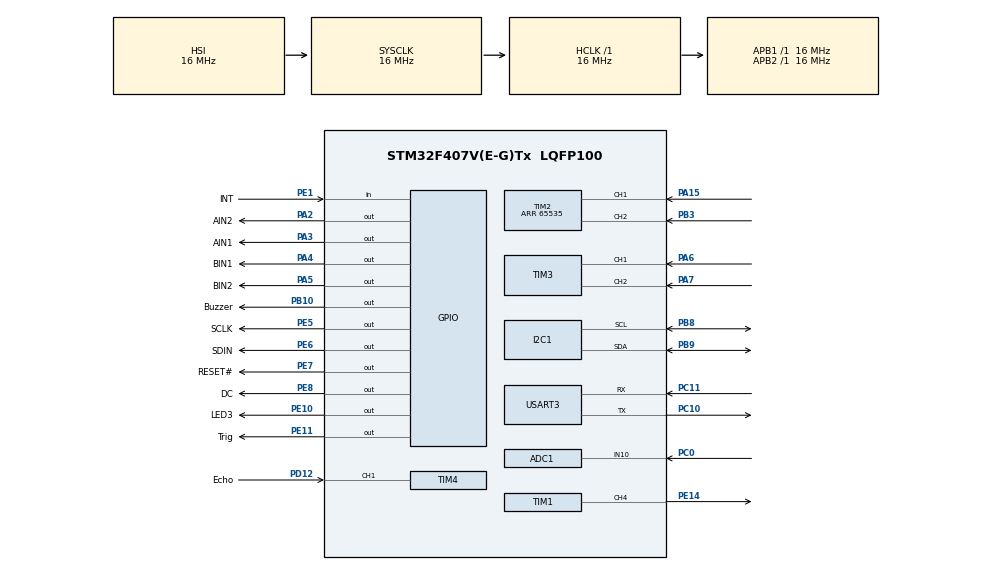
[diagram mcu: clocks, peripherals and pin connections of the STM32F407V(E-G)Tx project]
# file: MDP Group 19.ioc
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ADC1.Channel-3\#ChannelRegularConversion=ADC_CHANNEL_10
ADC1.ExternalTrigConv=ADC_SOFTWARE_START
ADC1.NbrOfConversion=1
ADC1.NbrOfConversionFlag=1
ADC1.Rank-3\#ChannelRegularConversion=1
ADC1.SamplingTime-3\#ChannelRegularConversion=ADC_SAMPLETIME_3CYCLES
ADC1.master=1
FREERTOS.Tasks01=defaultTask,24,128,StartDefaultTask,Default,NULL,Dynamic,NULL,NULL;Motor,8,128,motorA,Default,NULL,Dynamic,NULL,NULL;Encoder,8,128,encoder,Default,NULL,Dynamic,NULL,NULL;IMU,8,128,gyro_task,Default,NULL,Dynamic,NULL,NULL;soundSensor,32,128,ultrasonic_task,Default,NULL,Dynamic,NULL,NULL;Show,32,128,show_task,Default,NULL,Dynamic,NULL,NULL
Mcu.Family=STM32F4
Mcu.Name=STM32F407V(E-G)Tx
Mcu.Package=LQFP100
NVIC.PriorityGroup=NVIC_PRIORITYGROUP_4
NVIC.TIM4_IRQn=true\:5\:0\:false\:false\:true\:true\:true\:true\:true
PA13.Signal=SYS_JTMS-SWDIO
PA14.Signal=SYS_JTCK-SWCLK
PA15.Signal=S_TIM2_CH1_ETR
PA2.GPIO_Label=AIN2
PA2.GPIO_Speed=GPIO_SPEED_FREQ_HIGH
PA2.Signal=GPIO_Output
PA3.GPIO_Label=AIN1
PA3.GPIO_Speed=GPIO_SPEED_FREQ_HIGH
PA3.Signal=GPIO_Output
PA4.GPIO_Label=BIN1
PA4.GPIO_Speed=GPIO_SPEED_FREQ_HIGH
PA4.Signal=GPIO_Output
PA5.GPIO_Label=BIN2
PA5.GPIO_Speed=GPIO_SPEED_FREQ_HIGH
PA5.Signal=GPIO_Output
PA6.Signal=S_TIM3_CH1
PA7.Signal=S_TIM3_CH2
PB10.GPIO_Label=Buzzer
PB10.Signal=GPIO_Output
PB3.Signal=S_TIM2_CH2
PB8.Mode=I2C
PB8.Signal=I2C1_SCL
PB9.Mode=I2C
PB9.Signal=I2C1_SDA
PC0.Signal=ADCx_IN10
PC10.Mode=Asynchronous
PC10.Signal=USART3_TX
PC11.Mode=Asynchronous
PC11.Signal=USART3_RX
PC6.Signal=S_TIM8_CH1
PC7.Signal=S_TIM8_CH2
PD12.GPIO_Label=Echo
PD12.Signal=S_TIM4_CH1
PE1.GPIO_Label=INT
PE1.Signal=GPIO_Input
PE10.GPIO_Label=LED3
PE10.Signal=GPIO_Output
PE11.GPIO_Label=Trig
PE11.Signal=GPIO_Output
PE14.Signal=S_TIM1_CH4
PE5.GPIO_Label=SCLK
PE5.Signal=GPIO_Output
PE6.GPIO_Label=SDIN
PE6.Signal=GPIO_Output
PE7.GPIO_Label=RESET\#
PE7.Signal=GPIO_Output
PE8.GPIO_Label=DC
PE8.Signal=GPIO_Output
ProjectManager.HeapSize=0x200
ProjectManager.StackSize=0x400
ProjectManager.TargetToolchain=STM32CubeIDE
RCC.AHBFreq_Value=16000000
RCC.APB1Freq_Value=16000000
RCC.APB2Freq_Value=16000000
RCC.CortexFreq_Value=16000000
RCC.HSE_VALUE=25000000
RCC.HSI_VALUE=16000000
RCC.LSE_VALUE=32768
RCC.SYSCLKFreq_VALUE=16000000
RCC.VCOOutputFreq_Value=192000000
SH.ADCx_IN10.0=ADC1_IN10,IN10
SH.S_TIM1_CH4.0=TIM1_CH4,PWM Generation4 CH4
SH.S_TIM2_CH1_ETR.0=TIM2_CH1,Encoder_Interface
SH.S_TIM2_CH2.0=TIM2_CH2,Encoder_Interface
SH.S_TIM3_CH1.0=TIM3_CH1,Encoder_Interface
SH.S_TIM3_CH2.0=TIM3_CH2,Encoder_Interface
SH.S_TIM4_CH1.0=TIM4_CH1,Input_Capture1_from_TI1
SH.S_TIM8_CH1.0=TIM8_CH1
SH.S_TIM8_CH2.0=TIM8_CH2
TIM1.AutoReloadPreload=TIM_AUTORELOAD_PRELOAD_ENABLE
TIM1.Channel-PWM\ Generation4\ CH4=TIM_CHANNEL_4
TIM1.Period=1000
TIM1.Prescaler=160
TIM2.EncoderMode=TIM_ENCODERMODE_TI12
TIM2.IC1Filter=10
TIM2.IC2Filter=10
TIM2.Period=65535
TIM3.EncoderMode=TIM_ENCODERMODE_TI12
TIM3.IC1Filter=10
TIM3.IC2Filter=10
TIM4.Channel-Input_Capture1_from_TI1=TIM_CHANNEL_1
TIM4.Prescaler=16-1
TIM8.Channel-PWM\ Generation1\ No\ Output=TIM_CHANNEL_1
TIM8.Channel-PWM\ Generation2\ No\ Output=TIM_CHANNEL_2
TIM8.Period=7199
USART3.VirtualMode=VM_ASYNC
VP_FREERTOS_VS_CMSIS_V2.Mode=CMSIS_V2
VP_TIM1_VS_ClockSourceINT.Mode=Internal
VP_TIM8_VS_ClockSourceINT.Mode=Internal
VP_TIM8_VS_no_output1.Mode=PWM Generation1 No Output
VP_TIM8_VS_no_output2.Mode=PWM Generation2 No Output
board=custom

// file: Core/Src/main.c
/* USER CODE BEGIN Header */
/**
  ******************************************************************************
  * @file           : main.c
  * @brief          : Main program body
  ******************************************************************************
  * @attention
  *
  * Copyright (c) 2024 STMicroelectronics.
  * All rights reserved.
  *
  * This software is licensed under terms that can be found in the LICENSE file
  * in the root directory of this software component.
  * If no LICENSE file comes with this software, it is provided AS-IS.
  *
  ******************************************************************************
  */
/* USER CODE END Header */
#include "main.h"
#include "cmsis_os.h"

/* USER CODE BEGIN Includes */
#include "oled.h"
#include "PID.h"
/* USER CODE END Includes */

/* USER CODE BEGIN PTD */
#define ECHO_Port 	GPIOB
#define ECHO_Pin	GPIO_PIN_4
#define TRIG_Port	GPIOE
#define TRIG_Pin	GPIO_PIN_9
/* USER CODE END PTD */

 ADC_HandleTypeDef hadc1;

I2C_HandleTypeDef hi2c1;

TIM_HandleTypeDef htim1;
TIM_HandleTypeDef htim2;
TIM_HandleTypeDef htim3;
TIM_HandleTypeDef htim4;
TIM_HandleTypeDef htim8;

UART_HandleTypeDef huart3;

/* Definitions for defaultTask */
osThreadId_t defaultTaskHandle;
const osThreadAttr_t defaultTask_attributes = {
  .name = "defaultTask",
  .stack_size = 128 * 4,
  .priority = (osPriority_t) osPriorityNormal,
};
/* Definitions for Motor */
osThreadId_t MotorHandle;
const osThreadAttr_t Motor_attributes = {
  .name = "Motor",
  .stack_size = 128 * 4,
  .priority = (osPriority_t) osPriorityLow,
};
/* Definitions for Encoder */
osThreadId_t EncoderHandle;
const osThreadAttr_t Encoder_attributes = {
  .name = "Encoder",
  .stack_size = 128 * 4,
  .priority = (osPriority_t) osPriorityLow,
};
/* Definitions for IMU */
osThreadId_t IMUHandle;
const osThreadAttr_t IMU_attributes = {
  .name = "IMU",
  .stack_size = 128 * 4,
  .priority = (osPriority_t) osPriorityLow,
};
/* Definitions for soundSensor */
osThreadId_t soundSensorHandle;
const osThreadAttr_t soundSensor_attributes = {
  .name = "soundSensor",
  .stack_size = 128 * 4,
  .priority = (osPriority_t) osPriorityAboveNormal,
};
/* Definitions for Show */
osThreadId_t ShowHandle;
const osThreadAttr_t Show_attributes = {
  .name = "Show",
  .stack_size = 128 * 4,
  .priority = (osPriority_t) osPriorityAboveNormal,
};
/* USER CODE BEGIN PV */
float echo =0;
float tc1, tc2;
/* USER CODE END PV */

void SystemClock_Config(void);
static void MX_GPIO_Init(void);
static void MX_USART3_UART_Init(void);
static void MX_TIM8_Init(void);
static void MX_TIM1_Init(void);
static void MX_TIM2_Init(void);
static void MX_I2C1_Init(void);
static void MX_TIM3_Init(void);
static void MX_TIM4_Init(void);
static void MX_ADC1_Init(void);
void stop();
void forward();
void reverse();
void servomotor_right();
void servomotor_center();
void servomotor_left();
void right_turn(int angle);
void left_turn(int angle);
void gyroInit();
void writeByte(uint8_t addr, uint8_t data);
void readByte(uint8_t addr, uint8_t *data);
void delay_us(uint16_t us);
void HAL_TIM_IC_CaptureCallback(TIM_HandleTypeDef *htim);
void HCSR04_Read (void);
void StartDefaultTask(void *argument);
void motorA(void *argument);
void encoder(void *argument);
void gyro_task(void *argument);
void ultrasonic_task(void *argument);
void show_task(void *argument);

/* USER CODE BEGIN 0 */
float speedOfSound = 0.0343/2;
//uint8_t motorA[20]; //move as global
uint8_t motorB[20]; //move as global
uint8_t Angle[20];
uint8_t dist[20];
uint8_t IRleft[20];
//Motor Global Var
int PID_DELAY = 1;
int PID_ENABLE = 0;
int PWML, PWMR;
const pwmval=2000; //Straight speed
const pwmval2=1500; //Turning speed
uint16_t pwmvalL,pwmvalR;
uint16_t pwmvalL2,pwmvalR2;
int pwm_L_f, pwm_L_b;
int pwm_R_f, pwm_R_b;
int pwm_L_div = 1, pwm_R_div = 1;
//	int offset_L, offset_R;
pwm_L_f = 1400; //Speed 2500 > 1950, 4000 > 3120, 3200 > 2500
pwm_L_b = 1625; //Speed 2500 > 2050, 4000 > 3280, 3200 > 2625
pwm_R_f = 1400; //Speed 2500 > 2050, 4000 > 3280, 3200 > 2625
pwm_R_b = 1525; //Speed 2500 > 2100, 4000 > 3360, 3200 > 2690
//Delay to achieve 10cm/s
int fwdTime=500;
int motor_dir; //Backward = -1, Stop = 0, Forward = 1
int servo_dir; //left = -1, center = 0, right = 1
double left_distance, right_distance;

//Encoder Global Var
int left_speed, right_speed;
double LEFTWHEEL_DIST;
double RIGHTWHEEL_DIST;
double full_rotation_wheel = 1250;
double circumference_wheel = 20.4;
double distance = 1200.0;

//gyroscope global var
uint8_t ICM_ADDR = 0x68;
uint8_t buff[20]; //Gyroscope buffer
double TOTAL_ANGLE = 0;
double TURNING_ANGLE = 0;
double TARGET_ANGLE = 90;

//Ultrasound Global Variables
uint32_t Echo_Val1 = 0;
uint32_t Echo_Val2 = 0;
uint32_t Difference = 0;
uint8_t Is_First_Captured = 0;
uint8_t Distance=999;
uint8_t UD=999;
int same=0;
uint16_t final_distance = 60;
int stime = 0;
double ultra_Distance  = 0; //Ultrasound distance

//IR sensor global variables
#define BUFFER_SIZE 4  // Buffer size for 10 samples

float irBufferL[BUFFER_SIZE]; // Buffer for left IR sensor
//float irBufferR[BUFFER_SIZE]; // Buffer for right IR sensor
int bufferIndex = 0;          // Current index in the buffer
float ir_distL_Avg = 0;       // Average distance for left IR sensor
//float ir_distR_Avg = 0;       // Average distance for right IR sensor
/* USER CODE END 0 */

int main(void)
{
  /* USER CODE BEGIN 1 */
	uint8_t sbuf[15] = "Hello World!\n\r";
  /* USER CODE END 1 */

  /* MCU Configuration--------------------------------------------------------*/

  /* Reset of all peripherals, Initializes the Flash interface and the Systick. */
  HAL_Init();

  /* Configure the system clock */
  SystemClock_Config();

  /* Initialize all configured peripherals */
  MX_GPIO_Init();
  MX_USART3_UART_Init();
  MX_TIM8_Init();
  MX_TIM1_Init();
  MX_TIM2_Init();
  MX_I2C1_Init();
  MX_TIM3_Init();
  MX_TIM4_Init();
  MX_ADC1_Init();
  /* USER CODE BEGIN 2 */
  	OLED_Init();
    /*OLED_ShowString(10, 5, "MDP GOGO!");

    OLED_buf = "2nd lab";
    OLED_ShowString(40, 30, OLED_buf);*/
    //OLED_Refresh_Gram();
  /* USER CODE END 2 */

  /* Init scheduler */
  osKernelInitialize();

  /* Create the thread(s) */
  /* creation of defaultTask */
  defaultTaskHandle = osThreadNew(StartDefaultTask, NULL, &defaultTask_attributes);

  /* creation of Motor */
  MotorHandle = osThreadNew(motorA, NULL, &Motor_attributes);

  /* creation of Encoder */
  EncoderHandle = osThreadNew(encoder, NULL, &Encoder_attributes);

  /* creation of IMU */
  IMUHandle = osThreadNew(gyro_task, NULL, &IMU_attributes);

  /* creation of soundSensor */
  soundSensorHandle = osThreadNew(ultrasonic_task, NULL, &soundSensor_attributes);

  /* creation of Show */
  ShowHandle = osThreadNew(show_task, NULL, &Show_attributes);

  /* Start scheduler */
  osKernelStart();

  /* We should never get here as control is now taken by the scheduler */
  /* Infinite loop */
  /* USER CODE BEGIN WHILE */
  while (1)
  {
	  HAL_GPIO_TogglePin(LED3_GPIO_Port, LED3_Pin);
	  //HAL_GPIO_TogglePin(Buzzer_GPIO_Port, Buzzer_Pin);
	  HAL_UART_Transmit(&huart3, sbuf, sizeof(sbuf), HAL_MAX_DELAY);
	  HAL_Delay(2000);

	  //HAL_GPIO_WritePin(GPIOA, LED3_Pin, GPIO_PIN_RESET);

    /* USER CODE END WHILE */

  }
}

void SystemClock_Config(void)
{
  RCC_OscInitTypeDef RCC_OscInitStruct = {0};
  RCC_ClkInitTypeDef RCC_ClkInitStruct = {0};

  /** Configure the main internal regulator output voltage
  */
  __HAL_RCC_PWR_CLK_ENABLE();
  __HAL_PWR_VOLTAGESCALING_CONFIG(PWR_REGULATOR_VOLTAGE_SCALE1);

  /** Initializes the RCC Oscillators according to the specified parameters
  * in the RCC_OscInitTypeDef structure.
  */
  RCC_OscInitStruct.OscillatorType = RCC_OSCILLATORTYPE_HSI;
  RCC_OscInitStruct.HSIState = RCC_HSI_ON;
  RCC_OscInitStruct.HSICalibrationValue = RCC_HSICALIBRATION_DEFAULT;
  RCC_OscInitStruct.PLL.PLLState = RCC_PLL_NONE;
  if (HAL_RCC_OscConfig(&RCC_OscInitStruct) != HAL_OK)
  {
    Error_Handler();
  }

  /** Initializes the CPU, AHB and APB buses clocks
  */
  RCC_ClkInitStruct.ClockType = RCC_CLOCKTYPE_HCLK|RCC_CLOCKTYPE_SYSCLK
                              |RCC_CLOCKTYPE_PCLK1|RCC_CLOCKTYPE_PCLK2;
  RCC_ClkInitStruct.SYSCLKSource = RCC_SYSCLKSOURCE_HSI;
  RCC_ClkInitStruct.AHBCLKDivider = RCC_SYSCLK_DIV1;
  RCC_ClkInitStruct.APB1CLKDivider = RCC_HCLK_DIV1;
  RCC_ClkInitStruct.APB2CLKDivider = RCC_HCLK_DIV1;

  if (HAL_RCC_ClockConfig(&RCC_ClkInitStruct, FLASH_LATENCY_0) != HAL_OK)
  {
    Error_Handler();
  }
}

static void MX_ADC1_Init(void)
{

  ADC_ChannelConfTypeDef sConfig = {0};

  /** Configure the global features of the ADC (Clock, Resolution, Data Alignment and number of conversion)
  */
  hadc1.Instance = ADC1;
  hadc1.Init.ClockPrescaler = ADC_CLOCK_SYNC_PCLK_DIV2;
  hadc1.Init.Resolution = ADC_RESOLUTION_12B;
  hadc1.Init.ScanConvMode = DISABLE;
  hadc1.Init.ContinuousConvMode = DISABLE;
  hadc1.Init.DiscontinuousConvMode = DISABLE;
  hadc1.Init.ExternalTrigConvEdge = ADC_EXTERNALTRIGCONVEDGE_NONE;
  hadc1.Init.ExternalTrigConv = ADC_SOFTWARE_START;
  hadc1.Init.DataAlign = ADC_DATAALIGN_RIGHT;
  hadc1.Init.NbrOfConversion = 1;
  hadc1.Init.DMAContinuousRequests = DISABLE;
  hadc1.Init.EOCSelection = ADC_EOC_SINGLE_CONV;
  if (HAL_ADC_Init(&hadc1) != HAL_OK)
  {
    Error_Handler();
  }

  /** Configure for the selected ADC regular channel its corresponding rank in the sequencer and its sample time.
  */
  sConfig.Channel = ADC_CHANNEL_10;
  sConfig.Rank = 1;
  sConfig.SamplingTime = ADC_SAMPLETIME_3CYCLES;
  if (HAL_ADC_ConfigChannel(&hadc1, &sConfig) != HAL_OK)
  {
    Error_Handler();
  }

}

static void MX_I2C1_Init(void)
{

  hi2c1.Instance = I2C1;
  hi2c1.Init.ClockSpeed = 100000;
  hi2c1.Init.DutyCycle = I2C_DUTYCYCLE_2;
  hi2c1.Init.OwnAddress1 = 0;
  hi2c1.Init.AddressingMode = I2C_ADDRESSINGMODE_7BIT;
  hi2c1.Init.DualAddressMode = I2C_DUALADDRESS_DISABLE;
  hi2c1.Init.OwnAddress2 = 0;
  hi2c1.Init.GeneralCallMode = I2C_GENERALCALL_DISABLE;
  hi2c1.Init.NoStretchMode = I2C_NOSTRETCH_DISABLE;
  if (HAL_I2C_Init(&hi2c1) != HAL_OK)
  {
    Error_Handler();
  }

}

static void MX_TIM1_Init(void)
{

  TIM_ClockConfigTypeDef sClockSourceConfig = {0};
  TIM_MasterConfigTypeDef sMasterConfig = {0};
  TIM_OC_InitTypeDef sConfigOC = {0};
  TIM_BreakDeadTimeConfigTypeDef sBreakDeadTimeConfig = {0};

  htim1.Instance = TIM1;
  htim1.Init.Prescaler = 160;
  htim1.Init.CounterMode = TIM_COUNTERMODE_UP;
  htim1.Init.Period = 1000;
  htim1.Init.ClockDivision = TIM_CLOCKDIVISION_DIV1;
  htim1.Init.RepetitionCounter = 0;
  htim1.Init.AutoReloadPreload = TIM_AUTORELOAD_PRELOAD_ENABLE;
  if (HAL_TIM_Base_Init(&htim1) != HAL_OK)
  {
    Error_Handler();
  }
  sClockSourceConfig.ClockSource = TIM_CLOCKSOURCE_INTERNAL;
  if (HAL_TIM_ConfigClockSource(&htim1, &sClockSourceConfig) != HAL_OK)
  {
    Error_Handler();
  }
  if (HAL_TIM_PWM_Init(&htim1) != HAL_OK)
  {
    Error_Handler();
  }
  sMasterConfig.MasterOutputTrigger = TIM_TRGO_RESET;
  sMasterConfig.MasterSlaveMode = TIM_MASTERSLAVEMODE_DISABLE;
  if (HAL_TIMEx_MasterConfigSynchronization(&htim1, &sMasterConfig) != HAL_OK)
  {
    Error_Handler();
  }
  sConfigOC.OCMode = TIM_OCMODE_PWM1;
  sConfigOC.Pulse = 0;
  sConfigOC.OCPolarity = TIM_OCPOLARITY_HIGH;
  sConfigOC.OCFastMode = TIM_OCFAST_DISABLE;
  sConfigOC.OCIdleState = TIM_OCIDLESTATE_RESET;
  sConfigOC.OCNIdleState = TIM_OCNIDLESTATE_RESET;
  if (HAL_TIM_PWM_ConfigChannel(&htim1, &sConfigOC, TIM_CHANNEL_4) != HAL_OK)
  {
    Error_Handler();
  }
  sBreakDeadTimeConfig.OffStateRunMode = TIM_OSSR_DISABLE;
  sBreakDeadTimeConfig.OffStateIDLEMode = TIM_OSSI_DISABLE;
  sBreakDeadTimeConfig.LockLevel = TIM_LOCKLEVEL_OFF;
  sBreakDeadTimeConfig.DeadTime = 0;
  sBreakDeadTimeConfig.BreakState = TIM_BREAK_DISABLE;
  sBreakDeadTimeConfig.BreakPolarity = TIM_BREAKPOLARITY_HIGH;
  sBreakDeadTimeConfig.AutomaticOutput = TIM_AUTOMATICOUTPUT_DISABLE;
  if (HAL_TIMEx_ConfigBreakDeadTime(&htim1, &sBreakDeadTimeConfig) != HAL_OK)
  {
    Error_Handler();
  }
  HAL_TIM_MspPostInit(&htim1);

}

static void MX_TIM2_Init(void)
{

  TIM_Encoder_InitTypeDef sConfig = {0};
  TIM_MasterConfigTypeDef sMasterConfig = {0};

  htim2.Instance = TIM2;
  htim2.Init.Prescaler = 0;
  htim2.Init.CounterMode = TIM_COUNTERMODE_UP;
  htim2.Init.Period = 65535;
  htim2.Init.ClockDivision = TIM_CLOCKDIVISION_DIV1;
  htim2.Init.AutoReloadPreload = TIM_AUTORELOAD_PRELOAD_DISABLE;
  sConfig.EncoderMode = TIM_ENCODERMODE_TI12;
  sConfig.IC1Polarity = TIM_ICPOLARITY_RISING;
  sConfig.IC1Selection = TIM_ICSELECTION_DIRECTTI;
  sConfig.IC1Prescaler = TIM_ICPSC_DIV1;
  sConfig.IC1Filter = 10;
  sConfig.IC2Polarity = TIM_ICPOLARITY_RISING;
  sConfig.IC2Selection = TIM_ICSELECTION_DIRECTTI;
  sConfig.IC2Prescaler = TIM_ICPSC_DIV1;
  sConfig.IC2Filter = 10;
  if (HAL_TIM_Encoder_Init(&htim2, &sConfig) != HAL_OK)
  {
    Error_Handler();
  }
  sMasterConfig.MasterOutputTrigger = TIM_TRGO_RESET;
  sMasterConfig.MasterSlaveMode = TIM_MASTERSLAVEMODE_DISABLE;
  if (HAL_TIMEx_MasterConfigSynchronization(&htim2, &sMasterConfig) != HAL_OK)
  {
    Error_Handler();
  }

}

static void MX_TIM3_Init(void)
{

  TIM_Encoder_InitTypeDef sConfig = {0};
  TIM_MasterConfigTypeDef sMasterConfig = {0};

  htim3.Instance = TIM3;
  htim3.Init.Prescaler = 0;
  htim3.Init.CounterMode = TIM_COUNTERMODE_UP;
  htim3.Init.Period = 65535;
  htim3.Init.ClockDivision = TIM_CLOCKDIVISION_DIV1;
  htim3.Init.AutoReloadPreload = TIM_AUTORELOAD_PRELOAD_DISABLE;
  sConfig.EncoderMode = TIM_ENCODERMODE_TI12;
  sConfig.IC1Polarity = TIM_ICPOLARITY_RISING;
  sConfig.IC1Selection = TIM_ICSELECTION_DIRECTTI;
  sConfig.IC1Prescaler = TIM_ICPSC_DIV1;
  sConfig.IC1Filter = 10;
  sConfig.IC2Polarity = TIM_ICPOLARITY_RISING;
  sConfig.IC2Selection = TIM_ICSELECTION_DIRECTTI;
  sConfig.IC2Prescaler = TIM_ICPSC_DIV1;
  sConfig.IC2Filter = 10;
  if (HAL_TIM_Encoder_Init(&htim3, &sConfig) != HAL_OK)
  {
    Error_Handler();
  }
  sMasterConfig.MasterOutputTrigger = TIM_TRGO_RESET;
  sMasterConfig.MasterSlaveMode = TIM_MASTERSLAVEMODE_DISABLE;
  if (HAL_TIMEx_MasterConfigSynchronization(&htim3, &sMasterConfig) != HAL_OK)
  {
    Error_Handler();
  }

}

static void MX_TIM4_Init(void)
{

  TIM_MasterConfigTypeDef sMasterConfig = {0};
  TIM_IC_InitTypeDef sConfigIC = {0};

  htim4.Instance = TIM4;
  htim4.Init.Prescaler = 16-1;
  htim4.Init.CounterMode = TIM_COUNTERMODE_UP;
  htim4.Init.Period = 65535;
  htim4.Init.ClockDivision = TIM_CLOCKDIVISION_DIV1;
  htim4.Init.AutoReloadPreload = TIM_AUTORELOAD_PRELOAD_DISABLE;
  if (HAL_TIM_IC_Init(&htim4) != HAL_OK)
  {
    Error_Handler();
  }
  sMasterConfig.MasterOutputTrigger = TIM_TRGO_RESET;
  sMasterConfig.MasterSlaveMode = TIM_MASTERSLAVEMODE_DISABLE;
  if (HAL_TIMEx_MasterConfigSynchronization(&htim4, &sMasterConfig) != HAL_OK)
  {
    Error_Handler();
  }
  sConfigIC.ICPolarity = TIM_INPUTCHANNELPOLARITY_RISING;
  sConfigIC.ICSelection = TIM_ICSELECTION_DIRECTTI;
  sConfigIC.ICPrescaler = TIM_ICPSC_DIV1;
  sConfigIC.ICFilter = 0;
  if (HAL_TIM_IC_ConfigChannel(&htim4, &sConfigIC, TIM_CHANNEL_1) != HAL_OK)
  {
    Error_Handler();
  }

}

static void MX_TIM8_Init(void)
{

  TIM_ClockConfigTypeDef sClockSourceConfig = {0};
  TIM_MasterConfigTypeDef sMasterConfig = {0};
  TIM_OC_InitTypeDef sConfigOC = {0};
  TIM_BreakDeadTimeConfigTypeDef sBreakDeadTimeConfig = {0};

  htim8.Instance = TIM8;
  htim8.Init.Prescaler = 0;
  htim8.Init.CounterMode = TIM_COUNTERMODE_UP;
  htim8.Init.Period = 7199;
  htim8.Init.ClockDivision = TIM_CLOCKDIVISION_DIV1;
  htim8.Init.RepetitionCounter = 0;
  htim8.Init.AutoReloadPreload = TIM_AUTORELOAD_PRELOAD_DISABLE;
  if (HAL_TIM_Base_Init(&htim8) != HAL_OK)
  {
    Error_Handler();
  }
  sClockSourceConfig.ClockSource = TIM_CLOCKSOURCE_INTERNAL;
  if (HAL_TIM_ConfigClockSource(&htim8, &sClockSourceConfig) != HAL_OK)
  {
    Error_Handler();
  }
  if (HAL_TIM_PWM_Init(&htim8) != HAL_OK)
  {
    Error_Handler();
  }
  sMasterConfig.MasterOutputTrigger = TIM_TRGO_RESET;
  sMasterConfig.MasterSlaveMode = TIM_MASTERSLAVEMODE_DISABLE;
  if (HAL_TIMEx_MasterConfigSynchronization(&htim8, &sMasterConfig) != HAL_OK)
  {
    Error_Handler();
  }
  sConfigOC.OCMode = TIM_OCMODE_PWM1;
  sConfigOC.Pulse = 0;
  sConfigOC.OCPolarity = TIM_OCPOLARITY_HIGH;
  sConfigOC.OCNPolarity = TIM_OCNPOLARITY_HIGH;
  sConfigOC.OCFastMode = TIM_OCFAST_DISABLE;
  sConfigOC.OCIdleState = TIM_OCIDLESTATE_RESET;
  sConfigOC.OCNIdleState = TIM_OCNIDLESTATE_RESET;
  if (HAL_TIM_PWM_ConfigChannel(&htim8, &sConfigOC, TIM_CHANNEL_1) != HAL_OK)
  {
    Error_Handler();
  }
  if (HAL_TIM_PWM_ConfigChannel(&htim8, &sConfigOC, TIM_CHANNEL_2) != HAL_OK)
  {
    Error_Handler();
  }
  sBreakDeadTimeConfig.OffStateRunMode = TIM_OSSR_DISABLE;
  sBreakDeadTimeConfig.OffStateIDLEMode = TIM_OSSI_DISABLE;
  sBreakDeadTimeConfig.LockLevel = TIM_LOCKLEVEL_OFF;
  sBreakDeadTimeConfig.DeadTime = 0;
  sBreakDeadTimeConfig.BreakState = TIM_BREAK_DISABLE;
  sBreakDeadTimeConfig.BreakPolarity = TIM_BREAKPOLARITY_HIGH;
  sBreakDeadTimeConfig.AutomaticOutput = TIM_AUTOMATICOUTPUT_DISABLE;
  if (HAL_TIMEx_ConfigBreakDeadTime(&htim8, &sBreakDeadTimeConfig) != HAL_OK)
  {
    Error_Handler();
  }

}

static void MX_USART3_UART_Init(void)
{

  huart3.Instance = USART3;
  huart3.Init.BaudRate = 115200;
  huart3.Init.WordLength = UART_WORDLENGTH_8B;
  huart3.Init.StopBits = UART_STOPBITS_1;
  huart3.Init.Parity = UART_PARITY_NONE;
  huart3.Init.Mode = UART_MODE_TX_RX;
  huart3.Init.HwFlowCtl = UART_HWCONTROL_NONE;
  huart3.Init.OverSampling = UART_OVERSAMPLING_16;
  if (HAL_UART_Init(&huart3) != HAL_OK)
  {
    Error_Handler();
  }

}

static void MX_GPIO_Init(void)
{
  GPIO_InitTypeDef GPIO_InitStruct = {0};

  /* GPIO Ports Clock Enable */
  __HAL_RCC_GPIOE_CLK_ENABLE();
  __HAL_RCC_GPIOC_CLK_ENABLE();
  __HAL_RCC_GPIOA_CLK_ENABLE();
  __HAL_RCC_GPIOB_CLK_ENABLE();
  __HAL_RCC_GPIOD_CLK_ENABLE();

  /*Configure GPIO pin Output Level */
  HAL_GPIO_WritePin(GPIOE, SCLK_Pin|SDIN_Pin|RESET__Pin|DC_Pin
                          |LED3_Pin|Trig_Pin, GPIO_PIN_RESET);

  /*Configure GPIO pin Output Level */
  HAL_GPIO_WritePin(GPIOA, AIN2_Pin|AIN1_Pin|BIN1_Pin|BIN2_Pin, GPIO_PIN_RESET);

  /*Configure GPIO pin Output Level */
  HAL_GPIO_WritePin(Buzzer_GPIO_Port, Buzzer_Pin, GPIO_PIN_RESET);

  /*Configure GPIO pins : SCLK_Pin SDIN_Pin RESET__Pin DC_Pin
                           LED3_Pin Trig_Pin */
  GPIO_InitStruct.Pin = SCLK_Pin|SDIN_Pin|RESET__Pin|DC_Pin
                          |LED3_Pin|Trig_Pin;
  GPIO_InitStruct.Mode = GPIO_MODE_OUTPUT_PP;
  GPIO_InitStruct.Pull = GPIO_NOPULL;
  GPIO_InitStruct.Speed = GPIO_SPEED_FREQ_LOW;
  HAL_GPIO_Init(GPIOE, &GPIO_InitStruct);

  /*Configure GPIO pins : AIN2_Pin AIN1_Pin BIN1_Pin BIN2_Pin */
  GPIO_InitStruct.Pin = AIN2_Pin|AIN1_Pin|BIN1_Pin|BIN2_Pin;
  GPIO_InitStruct.Mode = GPIO_MODE_OUTPUT_PP;
  GPIO_InitStruct.Pull = GPIO_NOPULL;
  GPIO_InitStruct.Speed = GPIO_SPEED_FREQ_HIGH;
  HAL_GPIO_Init(GPIOA, &GPIO_InitStruct);

  /*Configure GPIO pin : Buzzer_Pin */
  GPIO_InitStruct.Pin = Buzzer_Pin;
  GPIO_InitStruct.Mode = GPIO_MODE_OUTPUT_PP;
  GPIO_InitStruct.Pull = GPIO_NOPULL;
  GPIO_InitStruct.Speed = GPIO_SPEED_FREQ_LOW;
  HAL_GPIO_Init(Buzzer_GPIO_Port, &GPIO_InitStruct);

  /*Configure GPIO pin : INT_Pin */
  GPIO_InitStruct.Pin = INT_Pin;
  GPIO_InitStruct.Mode = GPIO_MODE_INPUT;
  GPIO_InitStruct.Pull = GPIO_NOPULL;
  HAL_GPIO_Init(INT_GPIO_Port, &GPIO_InitStruct);

}

/* USER CODE BEGIN 4 */
void stop()
{
	//Stop both wheels
	motor_dir = 0;
	__HAL_TIM_SetCompare(&htim8,TIM_CHANNEL_1,0);
	__HAL_TIM_SetCompare(&htim8,TIM_CHANNEL_2,0);
}

void forward()
{
	//PID
	//pwmvalR = pwmval;
	//pwmvalL = pwmval;
	motor_dir = 1;
	//Left motor
	//servomotor_center(); //Center before starting
    HAL_GPIO_WritePin(GPIOA,AIN2_Pin,GPIO_PIN_RESET);
	HAL_GPIO_WritePin(GPIOA,AIN1_Pin,GPIO_PIN_SET);
//	pwmval=PIDController_Update(&motorL_PID,pwmval,spdL);
	//__HAL_TIM_SetCompare(&htim8,TIM_CHANNEL_1,pwmvalL);
	__HAL_TIM_SetCompare(&htim8, TIM_CHANNEL_1, pwm_L_f/pwm_L_div);

	//Right motor
	HAL_GPIO_WritePin(GPIOA,BIN2_Pin,GPIO_PIN_RESET);
	HAL_GPIO_WritePin(GPIOA,BIN1_Pin,GPIO_PIN_SET);
	//__HAL_TIM_SetCompare(&htim8,TIM_CHANNEL_2,pwmvalR);
	__HAL_TIM_SetCompare(&htim8, TIM_CHANNEL_2, pwm_R_f/pwm_R_div);

	HAL_Delay(10);
}

void reverse()
{
	//PID
	//pwmvalR = pwmval;  //20
	//pwmvalL = pwmval; //45
	motor_dir = -1;
	//Left motor
	servomotor_center(); //Center before starting
	HAL_GPIO_WritePin(GPIOA,AIN2_Pin,GPIO_PIN_SET);
	HAL_GPIO_WritePin(GPIOA,AIN1_Pin,GPIO_PIN_RESET);
	__HAL_TIM_SetCompare(&htim8, TIM_CHANNEL_1, pwm_L_b/pwm_L_div);

	//Right motor
	HAL_GPIO_WritePin(GPIOA,BIN2_Pin,GPIO_PIN_SET);
	HAL_GPIO_WritePin(GPIOA,BIN1_Pin,GPIO_PIN_RESET);
	__HAL_TIM_SetCompare(&htim8, TIM_CHANNEL_2, pwm_R_b/pwm_R_div);

	HAL_Delay(10);

}

void servomotor_right()
{
	// default: 225
	uint32_t value = 200;
	if (htim1.Instance->CCR4 == value){
			return;
	}
	htim1.Instance->CCR4 = value;
	servo_dir = -1;
	osDelay(200);
}

void servomotor_center()
{
	// default: 150
	uint32_t value;
	if (htim1.Instance->CCR4 == 96)
		value = 145;
	else
		value = 127;
	if (htim1.Instance->CCR4 == value){
		return;
	}
	htim1.Instance->CCR4 = value;
	servo_dir = 0;
	osDelay(200);
}

void servomotor_left()
{
	// default: 107
	uint32_t value = 96;
	if (htim1.Instance->CCR4 == value){
			return;
	}
	htim1.Instance->CCR4 = value;
	servo_dir = 1;
	osDelay(200);
}

void right_turn(int angle) //Keep for debugging purpose
{
	//Prep the servomotor to right
	servomotor_right();

	osDelay(250);

	TURNING_ANGLE = 0;
	forward();
	//Start the motor
	//__HAL_TIM_SetCompare(&htim8, TIM_CHANNEL_1, 3500);
	//__HAL_TIM_SetCompare(&htim8, TIM_CHANNEL_2, 3500);

	while (TURNING_ANGLE > -1*angle){ //while it is still turning to the correct angle
		servomotor_right();
		osDelay(10);
	}

	//Stop the Motor are completing the turn
	//__HAL_TIM_SetCompare(&htim8, TIM_CHANNEL_1, 0);
	//__HAL_TIM_SetCompare(&htim8, TIM_CHANNEL_2, 0);
	stop();

	servomotor_center();
}

void left_turn(int angle) //Keep for debugging purpose
{
	//Prep the servomotor to left
	servomotor_left();

	osDelay(250);

	TURNING_ANGLE = 0;
	forward();
	//Start the motor
	//__HAL_TIM_SetCompare(&htim8, TIM_CHANNEL_1, 3500);
	//__HAL_TIM_SetCompare(&htim8, TIM_CHANNEL_2, 3500);

	while (TURNING_ANGLE < angle){ //while it is still turning to the correct angle
		servomotor_left();
		osDelay(10);
	}

	//Stop the Motor are completing the turn
	//__HAL_TIM_SetCompare(&htim8, TIM_CHANNEL_1, 0);
	//__HAL_TIM_SetCompare(&htim8, TIM_CHANNEL_2, 0);
	stop();

	servomotor_center();

}

void gyroInit()
{
	writeByte(0x06, 0x00);
	osDelayUntil(10);
	writeByte(0x03, 0x80);
	osDelayUntil(10);
	writeByte(0x07, 0x3F);
	osDelayUntil(10);
	writeByte(0x06, 0x01);
	osDelayUntil(10);
	writeByte(0x7F, 0x20); // go to bank 2
	osDelayUntil(10);
	writeByte(0x01, 0x2F); // config gyro, enable gyro, dlpf, set gyro to +-2000dps; gyro lpf = 3'b101
	osDelayUntil(10);
	writeByte(0x00, 0x00); // set gyro sample rate divider = 1 + 0(GYRO_SMPLRT_DIV[7:0])
	osDelayUntil(10);
	writeByte(0x01, 0x2F); // config accel, enable gyro, dlpf, set gyro to +-2000dps; gyro lpf = 3'b101
	osDelayUntil(10);
	writeByte(0x00, 0x00); // set gyro sample rate divider = 1 + 0(GYRO_SMPLRT_DIV[7:0])
	osDelayUntil(10);
	writeByte(0x7F, 0x00); // return to bank 1
	osDelayUntil(10);
	writeByte(0x07, 0x00);
	osDelayUntil(10);
}

void writeByte(uint8_t addr, uint8_t data)
{
	buff[0] = addr;
	buff[1] = data;
	HAL_I2C_Master_Transmit(&hi2c1, ICM_ADDR<<1, buff, 2, 20);
}

void readByte(uint8_t addr, uint8_t *data)
{
	buff[0] = addr;
	// Tell we want to read from the register
	HAL_I2C_Master_Transmit(&hi2c1, ICM_ADDR<<1, buff, 1, 10);
	// Read 2 byte from z dir register
	HAL_I2C_Master_Receive(&hi2c1, ICM_ADDR<<1, data, 2, 20);
}

void delay_us(uint16_t us)
{
	__HAL_TIM_SET_COUNTER(&htim4,0);  // set the counter value a 0
	while (__HAL_TIM_GET_COUNTER(&htim4) < us);  // wait for the counter to reach the us input in the parameter
}

void HAL_TIM_IC_CaptureCallback(TIM_HandleTypeDef *htim)
{
	if (htim->Channel == HAL_TIM_ACTIVE_CHANNEL_1)  // if the interrupt source is channel1
	{
		if (Is_First_Captured==0) // if the first value is not captured
		{
			Echo_Val1 = HAL_TIM_ReadCapturedValue(htim, TIM_CHANNEL_1); // read the first value
			Is_First_Captured = 1;  // set the first captured as true
			// Now change the polarity to falling edge
			__HAL_TIM_SET_CAPTUREPOLARITY(htim, TIM_CHANNEL_1, TIM_INPUTCHANNELPOLARITY_FALLING);
		}

		else if (Is_First_Captured==1)   // if the first is already captured
		{
			Echo_Val2 = HAL_TIM_ReadCapturedValue(htim, TIM_CHANNEL_1);  // read second value
			__HAL_TIM_SET_COUNTER(htim, 0);  // reset the counter

			if (Echo_Val2 > Echo_Val1)
			{
				Difference = Echo_Val2-Echo_Val1;
			}

			else if (Echo_Val1 > Echo_Val2)
			{
				Difference = (0xffff - Echo_Val1) + Echo_Val2;
				//Difference = 0;
			}

			UD = (Difference * 0.034)/2;

			Is_First_Captured = 0; // set it back to false

			// set polarity to rising edge
			__HAL_TIM_SET_CAPTUREPOLARITY(htim, TIM_CHANNEL_1, TIM_INPUTCHANNELPOLARITY_RISING);
			__HAL_TIM_DISABLE_IT(&htim4, TIM_IT_CC1);
		}
	}
}

void HCSR04_Read (void)
{
	//	HAL_GPIO_WritePin(Trig_GPIO_Port, Trig_Pin, GPIO_PIN_SET);  // pull the TRIG pin HIGH
	//	delay_us(10);  // wait for 10 us
	//	HAL_GPIO_WritePin(Trig_GPIO_Port, Trig_Pin, GPIO_PIN_RESET);  // pull the TRIG pin low
	//
	//	__HAL_TIM_ENABLE_IT(&htim4, TIM_IT_CC1);

	HAL_GPIO_WritePin(Trig_GPIO_Port, Trig_Pin, GPIO_PIN_SET);  // pull the TRIG pin HIGH
	delay_us(10);  // wait f or 10 us
	HAL_GPIO_WritePin(Trig_GPIO_Port, Trig_Pin, GPIO_PIN_RESET);  // pull the TRIG pin low

	__HAL_TIM_ENABLE_IT(&htim4, TIM_IT_CC1);
}
/* USER CODE END 4 */

void StartDefaultTask(void *argument)
{
  for(;;)
  {
    osDelay(1);
  }
}

void motorA(void *argument)
{
  /* USER CODE BEGIN motorA */
	//uint16_t pwmVal =0;

	HAL_TIM_PWM_Start(&htim8,TIM_CHANNEL_1);
	HAL_TIM_PWM_Start(&htim8,TIM_CHANNEL_2);
	HAL_TIM_PWM_Start(&htim1,TIM_CHANNEL_4);
	servomotor_center();
	forward();
	osDelay(2000);
	right_turn(TARGET_ANGLE);
	while (1){
		if (LEFTWHEEL_DIST >= distance || RIGHTWHEEL_DIST >= distance) stop();
		if (TURNING_ANGLE >= TARGET_ANGLE) servomotor_center();
	}

	/*int pwm_L_f, pwm_L_b;
	int pwm_R_f, pwm_R_b;
	int pwm_L_div = 1, pwm_R_div = 1;
	//	int offset_L, offset_R;
	pwm_L_f = 2400; //Speed 2500 > 1950, 4000 > 3120, 3200 > 2500
	pwm_L_b = 2625; //Speed 2500 > 2050, 4000 > 3280, 3200 > 2625
	pwm_R_f = 2625; //Speed 2500 > 2050, 4000 > 3280, 3200 > 2625
	pwm_R_b = 2690; //Speed 2500 > 2100, 4000 > 3360, 3200 > 2690*/		//move to global

	struct PIDController motor_LF_PID, motor_RF_PID, motor_LB_PID, motor_RB_PID;

	MotorPIDController_Init(&motor_LF_PID);
	MotorPIDController_Init(&motor_RF_PID);
	MotorPIDController_Init(&motor_LB_PID);
	MotorPIDController_Init(&motor_RB_PID);

	uint32_t tick = HAL_GetTick();
	uint32_t pid_time_start = 0;
	int ANGLE_OFFSET;
//	RX_FLAG = 1;
//	RX_MOTOR = 'F';
//	RX_SERVO = 'C';
//	RX_MAG = 30;
	/* Infinite loop */
	for(;;)
	{
		//clockwise
		/*while(pwmVal<4000){
		  HAL_GPIO_WritePin(GPIOA, AIN2_Pin, GPIO_PIN_SET);
		  HAL_GPIO_WritePin(GPIOA, AIN1_Pin, GPIO_PIN_RESET);
		  HAL_GPIO_WritePin(GPIOA, BIN2_Pin, GPIO_PIN_SET);
		  HAL_GPIO_WritePin(GPIOA, BIN1_Pin, GPIO_PIN_RESET);
		  pwmVal++;
		  __HAL_TIM_SetCompare(&htim8, TIM_CHANNEL_1, pwmVal); //modify comparison value for the duty cycle
		  __HAL_TIM_SetCompare(&htim8, TIM_CHANNEL_2, pwmVal);
		  osDelay(10);
	  }
	  //anticlockwise
	  while(pwmVal>0){
		  HAL_GPIO_WritePin(GPIOA, AIN2_Pin, GPIO_PIN_RESET);
		  HAL_GPIO_WritePin(GPIOA, AIN1_Pin, GPIO_PIN_SET);
		  HAL_GPIO_WritePin(GPIOA, BIN2_Pin, GPIO_PIN_RESET);
		  HAL_GPIO_WritePin(GPIOA, BIN1_Pin, GPIO_PIN_SET);
		  pwmVal--;
		  __HAL_TIM_SetCompare(&htim8, TIM_CHANNEL_1, pwmVal);
		  __HAL_TIM_SetCompare(&htim8, TIM_CHANNEL_2, pwmVal);
		  osDelay(10);
	  }*/
		if (HAL_GetTick() - tick > 100L){
			//Calculate wheel speed change from turning
//			if (servo_dir != 0){
//				if (servo_dir == -1) {pwm_L_div = 2; pwm_R_div = 1;}
//				if (servo_dir == 1) {pwm_L_div = 1; pwm_R_div = 2;}
//			}
//			else {pwm_L_div = 1; pwm_R_div = 1;}
			//Calculate deviation
			if (motor_dir != 0 && servo_dir == 0){
				ANGLE_OFFSET = 3*((int)3*(TARGET_ANGLE - TOTAL_ANGLE));
				if (ANGLE_OFFSET >= 10) ANGLE_OFFSET = 10;
				if (ANGLE_OFFSET <= -10) ANGLE_OFFSET = -10;
			}
			//Control PID enable
			if (PID_DELAY == 1){
				pid_time_start = HAL_GetTick();
				PID_DELAY = 0;
			}
			if (PID_ENABLE == 0 && (HAL_GetTick() - pid_time_start > 400L)){
				PID_ENABLE = 1;
			}
			//Control motor
			if (motor_dir == 1){
				//Start the motor
				//__HAL_TIM_SetCompare(&htim8, TIM_CHANNEL_1, pwm_L_f/pwm_L_div);
				//__HAL_TIM_SetCompare(&htim8, TIM_CHANNEL_2, pwm_R_f/pwm_R_div);		//move to forward();
				//				if (servo_dir == 0) servomotor_set(SERVO_CENTER-ANGLE_OFFSET);
				//ADD PID CONTROL
				if (PID_ENABLE == 1){
					pwm_L_f = pwm_L_div*PIDController_Update(&motor_LF_PID, left_speed, 3200/pwm_L_div, pwm_L_f/pwm_L_div);
					pwm_R_f = pwm_R_div*PIDController_Update(&motor_RF_PID, right_speed, 3200/pwm_R_div, pwm_R_f/pwm_R_div);
				}
				//display to OLED
				PWML = pwm_L_f/pwm_L_div;
				PWMR = pwm_R_f/pwm_R_div;
			}
			else if (motor_dir == -1){
				//Start the motor
				//__HAL_TIM_SetCompare(&htim8, TIM_CHANNEL_1, pwm_L_b/pwm_L_div);
				//__HAL_TIM_SetCompare(&htim8, TIM_CHANNEL_2, pwm_R_b/pwm_R_div);		///move to reverse();
				//				if (servo_dir == 0) servomotor_set(SERVO_CENTER+ANGLE_OFFSET);
				//ADD PID CONTROL
				if (PID_ENABLE == 1){
					pwm_L_b = pwm_L_div*PIDController_Update(&motor_LB_PID, left_speed, 3200/pwm_L_div, pwm_L_b/pwm_L_div);
					pwm_R_b = pwm_R_div*PIDController_Update(&motor_RB_PID, right_speed, 3200/pwm_R_div, pwm_R_b/pwm_R_div);
				}
				//Display to OLED
				PWML = pwm_L_b/pwm_L_div;
				PWMR = pwm_R_b/pwm_R_div;
			}
			else {
				PWML = 0;
				PWMR = 0;
				PID_ENABLE = 0;
				ANGLE_OFFSET = 0;
				//				turning_prev = TOTAL_ANGLE-TARGET_ANGLE;
				//				deviation_prev = 0;
			}
			tick = HAL_GetTick();
		}
		osDelay(10);

  }
  /* USER CODE END motorA */
}

void encoder(void *argument)
{
  /* USER CODE BEGIN encoder */
  /* Infinite loop */
	HAL_TIM_Encoder_Start(&htim2, TIM_CHANNEL_ALL);
	HAL_TIM_Encoder_Start(&htim3, TIM_CHANNEL_ALL);

	int cnt1A, cnt2A;
	int cnt1B, cnt2B;
	int diffA = 0;
	int diffB = 0;
	uint32_t tick, cur_tick, T;
	uint16_t dirA, dirB;

	LEFTWHEEL_DIST = 0;
	RIGHTWHEEL_DIST = 0;
	cnt1A = __HAL_TIM_GET_COUNTER(&htim2);
	cnt1B = __HAL_TIM_GET_COUNTER(&htim3);
	tick = HAL_GetTick();

  for(;;)
  {
	  cur_tick = HAL_GetTick();
	  if (cur_tick - tick > 50L){ //every 0.05 second
	  		  cnt2A = __HAL_TIM_GET_COUNTER(&htim2);
	  		  cnt2B = __HAL_TIM_GET_COUNTER(&htim3);
	  		  //Left encoder
	  		  if(__HAL_TIM_IS_TIM_COUNTING_DOWN(&htim2)){
	  			  if(cnt2A <= cnt1A){
	  				  diffA = cnt1A - cnt2A;
	  			  }
	  			  else {
	  				  diffA = (65535 - cnt2A) + cnt1A; //handle overflow situation
	  			  }
	  			  //dir_L = 1;
	  		  }
	  		  else {
	  			  if(cnt2A >= cnt1A){
	  				  diffA = cnt2A - cnt1A;
	  			  }
	  			  else {
	  				  diffA = (65535 - cnt1A) + cnt2A;
	  			  }
	  			  //dir_L = -1;
	  		  }
	  		  //Right encoder
	  		  if(__HAL_TIM_IS_TIM_COUNTING_DOWN(&htim3)){
	  			  if(cnt2B <= cnt1B){
	  				  diffB = cnt1B - cnt2B;
	  			  }
	  			  else {
	  				  diffB = (65535 - cnt2B) + cnt1B; //handle overflow situation
	  			  }
	  			  //dir_R = -1;
	  		  }
	  		  else {
	  			  if(cnt2B >= cnt1B){
	  				  diffB = cnt2B - cnt1B;
	  			  }
	  			  else {
	  				  diffB = (65535 - cnt1B) + cnt2B;
	  			  }
	  			  //dir_R = 1;
	  		  }
		  T = cur_tick - tick;

		  //Show speed in ticks/s
		  //left_speed = diffA * (1000/T);
		  //right_speed = diffB * (1000/T);

		  //Calculate distance traveled
		  //distInt_L += left_diff * dir_L;
		  //distInt_R += right_diff * dir_R;
		  LEFTWHEEL_DIST += diffA/full_rotation_wheel*circumference_wheel;
		  RIGHTWHEEL_DIST += diffB/full_rotation_wheel*circumference_wheel;
		  //		  dirA = __HAL_TIM_IS_TIM_COUNTING_DOWN(&htim2);
		  //		  dirB = __HAL_TIM_IS_TIM_COUNTING_DOWN(&htim3);
		  //sprintf(motorA, "direction:%5d\0", motor_dir);
		  //OLED_ShowString(10,40,motorA); //move to show task
		  cnt1A = __HAL_TIM_GET_COUNTER(&htim2);
		  cnt1B = __HAL_TIM_GET_COUNTER(&htim3);
		  tick = HAL_GetTick();
		  //OLED_Refresh_Gram();
	  }
    osDelay(1);
  }
  /* USER CODE END encoder */
}

void gyro_task(void *argument)
{
  /* USER CODE BEGIN gyro_task */
  /* Infinite loop */
	//uint8_t Angle[20];
	//uint8_t motorB[20];
	double offset = 7.848882995;//High power offset 7.85 //Low power offset 7.8475
	double angle;
	for(;;)
	{
		uint8_t val[2] = {0, 0};
		int16_t angular_speed = 0;

		uint32_t tick = 0;
		gyroInit();

		tick = HAL_GetTick();
		osDelayUntil(10);

		for (;;)
		{

			osDelay(10);
			if (HAL_GetTick() - tick >= 50L)
			{
				readByte(0x37, val);
				angular_speed = (val[0] << 8) | val[1];

				//	      if (motor_dir == 0){
				//	    	  offset = (offset-(double)(angular_speed))/2;
				//	      }

				angle = ((double)(angular_speed)+offset) * ((HAL_GetTick() - tick) / 16400.0);
				//	      if (motor_dir == 0) angle = 0;
				TOTAL_ANGLE += angle;
				TURNING_ANGLE += angle;

				// prevSpeed = angular_speed;
				if (TOTAL_ANGLE >= 720)
				{
					TOTAL_ANGLE -= 720;
				}
				if (TOTAL_ANGLE <= -720)
				{
					TOTAL_ANGLE += 720;
				}
				//	      sprintf(OLED_Row_1, "OFSET: %6d\0", (int)((offset*10000)));
				//sprintf(Angle, "ANGLE: %6d\0", (int)(TOTAL_ANGLE));
				//sprintf(OLED_Row_5, "A_100: %6d\0", (int)(100*TOTAL_ANGLE));

				tick = HAL_GetTick();
			}
		}
		osDelay(1);
	}
  /* USER CODE END gyro_task */
}

void ultrasonic_task(void *argument)
{
  /* USER CODE BEGIN ultrasonic_task */
  /* Infinite loop */
	HAL_TIM_IC_Start_IT(&htim4, TIM_CHANNEL_1);
	int s1=0;
	int s2=0;
	int s3=0;
	int s1c=0;
	int s2c=0;
	int s3c=0;
	//uint8_t dist[20];

	for(;;)
	{
		osDelay(5);
		HAL_ADC_Start(&hadc1);
		//HAL_ADC_Start(&hadc2);
		HAL_ADC_PollForConversion(&hadc1, 1); // trivial waiting time, dont bother with dma or whatever
		uint32_t IR = HAL_ADC_GetValue(&hadc1);
		//HAL_ADC_PollForConversion(&hadc2, 1); // trivial waiting time, dont bother with dma or whatever
		//uint32_t IR2 = HAL_ADC_GetValue(&hadc2);
		HAL_ADC_Stop(&hadc1);
		//HAL_ADC_Stop(&hadc2);
		float volt = (float) (IR * 5) / 4095;
		irBufferL[bufferIndex] = roundf(29.988 * pow(volt, -1.173));
		//volt = (float) (IR2 * 5) / 4095;
		//irBufferR[bufferIndex] = roundf(29.988 * pow(volt, -1.173));

		float sumL = 0, sumR = 0;
		for (int i = 0; i < BUFFER_SIZE; i++) {
			sumL += irBufferL[i];
			//sumR += irBufferR[i];
		}
		for(int sc=0;sc<30;sc++)
		{
			HCSR04_Read();
			s1 = UD;
			if(UD==s1)
			{
				s1c++;
			}
			else if(UD!=s1)
			{
				s2 = UD;
				s2c++;
			}
			else if(UD!=s1 && UD!=s2)
			{
				s3 = UD;
				s3c++;
			}
		}
		if(s1c>s2c && s1c>s3c)
		{
			Distance=s1;
		}
		else if(s2c>s1c && s2c>s3c)
		{
			Distance=s2;
		}
		else if(s3c>s1c && s3c>s2c)
		{
			Distance=s3;
		}
		//sprintf(dist, "DIST: %5d CM", Distance);
		//OLED_ShowString(10,50,dist);
		ir_distL_Avg = sumL / BUFFER_SIZE;
		//ir_distR_Avg = sumR / BUFFER_SIZE;

		bufferIndex = (bufferIndex + 1) % BUFFER_SIZE; // Update buffer index
		osDelay(10);
	}
  /* USER CODE END ultrasonic_task */
}

void show_task(void *argument)
{
  /* USER CODE BEGIN show_task */
	uint8_t motorA[20];
  /* Infinite loop */
  for(;;)
  {
	  sprintf(motorA, "DST L: %5d\0", (int)LEFTWHEEL_DIST);
	  sprintf(motorB, "DST R: %5d\0", (int)RIGHTWHEEL_DIST);
	  sprintf(Angle, "ANGLE: %6d\0", (int)(TURNING_ANGLE));
	  sprintf(dist, "DIST: %5d CM", Distance);
	  sprintf(IRleft, "IR_L: %5d\0", (int)ir_distL_Avg);

	  OLED_ShowString(0,0,motorA);	//move to show task
	  OLED_ShowString(0,10,motorB);	//move to show task
	  OLED_ShowString(0,20,Angle);
	  OLED_ShowString(10,30,dist);
	  OLED_ShowString(10,40,IRleft);
	  OLED_Refresh_Gram();
  }
  osDelay(1);
  /* USER CODE END show_task */
}

void Error_Handler(void)
{
  __disable_irq();
  while (1)
  {
  }
}
